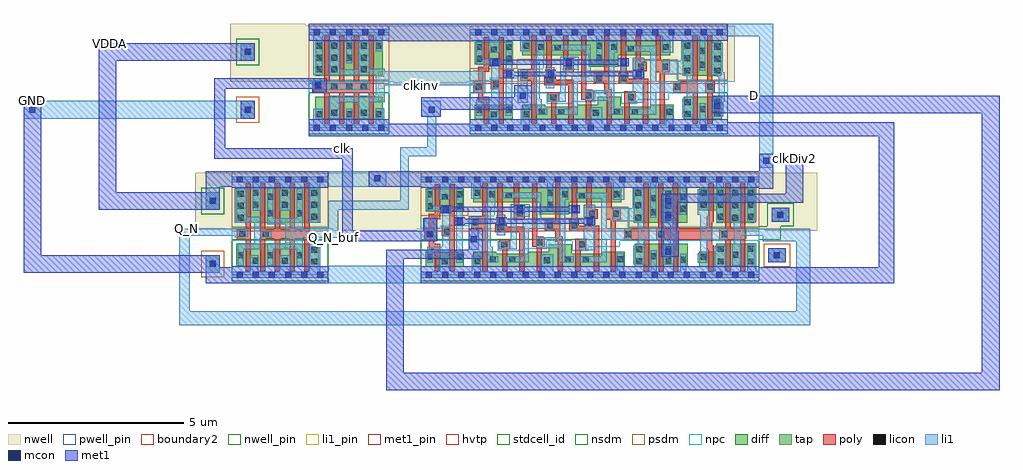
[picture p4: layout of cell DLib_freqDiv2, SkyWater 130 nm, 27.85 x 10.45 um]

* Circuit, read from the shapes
.subckt DLib_freqDiv2 D GND Q_N Q_N_buf VDDA clk clkDiv2 clkinv
XM1 GND Q_N n1 GND sky130_fd_pr__nfet_01v8 w=0.65 l=0.15
XM2 Q_N_buf n1 GND GND sky130_fd_pr__nfet_01v8 w=0.65 l=0.15 m=4
XM3 clkinv clk GND GND sky130_fd_pr__nfet_01v8 w=0.65 l=0.15 m=4
XM4 GND clk n2 GND sky130_fd_pr__nfet_01v8 w=0.42 l=0.15
XM5 n3 n2 GND GND sky130_fd_pr__nfet_01v8 w=0.42 l=0.15
XM6 n4 D GND GND sky130_fd_pr__nfet_01v8 w=0.42 l=0.15
XM7 GND clkinv n5 GND sky130_fd_pr__nfet_01v8 w=0.42 l=0.15
XM8 n6 n5 GND GND sky130_fd_pr__nfet_01v8 w=0.42 l=0.15
XM9 n7 n2 n4 GND sky130_fd_pr__nfet_01v8 w=0.36 l=0.15
XM10 n8 n3 n7 GND sky130_fd_pr__nfet_01v8 w=0.36 l=0.15
XM11 n9 Q_N_buf GND GND sky130_fd_pr__nfet_01v8 w=0.42 l=0.15
XM12 GND n10 n8 GND sky130_fd_pr__nfet_01v8 w=0.42 l=0.15
XM13 n11 n5 n9 GND sky130_fd_pr__nfet_01v8 w=0.36 l=0.15
XM14 n10 n7 GND GND sky130_fd_pr__nfet_01v8 w=0.64 l=0.15
XM15 n12 n6 n11 GND sky130_fd_pr__nfet_01v8 w=0.36 l=0.15
XM16 n13 n3 n10 GND sky130_fd_pr__nfet_01v8 w=0.36 l=0.15
XM17 GND n14 n12 GND sky130_fd_pr__nfet_01v8 w=0.42 l=0.15
XM18 n15 n2 n13 GND sky130_fd_pr__nfet_01v8 w=0.36 l=0.15
XM19 n14 n11 GND GND sky130_fd_pr__nfet_01v8 w=0.64 l=0.15
XM20 GND n16 n15 GND sky130_fd_pr__nfet_01v8 w=0.42 l=0.15
XM21 n17 n6 n14 GND sky130_fd_pr__nfet_01v8 w=0.36 l=0.15
XM22 n18 n5 n17 GND sky130_fd_pr__nfet_01v8 w=0.36 l=0.15
XM23 GND n13 n16 GND sky130_fd_pr__nfet_01v8 w=0.65 l=0.15
XM24 clkDiv2 n16 GND GND sky130_fd_pr__nfet_01v8 w=0.65 l=0.15 m=2
XM25 GND n19 n18 GND sky130_fd_pr__nfet_01v8 w=0.42 l=0.15
XM26 GND n17 n19 GND sky130_fd_pr__nfet_01v8 w=0.65 l=0.15
XM27 D n19 GND GND sky130_fd_pr__nfet_01v8 w=0.65 l=0.15
XM28 GND n16 n20 GND sky130_fd_pr__nfet_01v8 w=0.42 l=0.15
XM29 Q_N n20 GND GND sky130_fd_pr__nfet_01v8 w=0.65 l=0.15 m=2
XM30 VDDA Q_N n1 VDDA sky130_fd_pr__pfet_01v8_hvt w=1 l=0.15
XM31 Q_N_buf n1 VDDA VDDA sky130_fd_pr__pfet_01v8_hvt w=1 l=0.15 m=4
XM32 clkinv clk VDDA VDDA sky130_fd_pr__pfet_01v8_hvt w=1 l=0.15 m=4
XM33 VDDA clk n2 VDDA sky130_fd_pr__pfet_01v8_hvt w=0.64 l=0.15
XM34 n3 n2 VDDA VDDA sky130_fd_pr__pfet_01v8_hvt w=0.64 l=0.15
XM35 n4 D VDDA VDDA sky130_fd_pr__pfet_01v8_hvt w=0.42 l=0.15
XM36 VDDA clkinv n5 VDDA sky130_fd_pr__pfet_01v8_hvt w=0.64 l=0.15
XM37 n7 n3 n4 VDDA sky130_fd_pr__pfet_01v8_hvt w=0.42 l=0.15
XM38 n6 n5 VDDA VDDA sky130_fd_pr__pfet_01v8_hvt w=0.64 l=0.15
XM39 n21 n2 n7 VDDA sky130_fd_pr__pfet_01v8_hvt w=0.42 l=0.15
XM40 n9 Q_N_buf VDDA VDDA sky130_fd_pr__pfet_01v8_hvt w=0.42 l=0.15
XM41 VDDA n10 n21 VDDA sky130_fd_pr__pfet_01v8_hvt w=0.42 l=0.15
XM42 n11 n6 n9 VDDA sky130_fd_pr__pfet_01v8_hvt w=0.42 l=0.15
XM43 n10 n7 VDDA VDDA sky130_fd_pr__pfet_01v8_hvt w=0.75 l=0.15
XM44 n22 n5 n11 VDDA sky130_fd_pr__pfet_01v8_hvt w=0.42 l=0.15
XM45 n13 n2 n10 VDDA sky130_fd_pr__pfet_01v8_hvt w=0.42 l=0.15
XM46 VDDA n14 n22 VDDA sky130_fd_pr__pfet_01v8_hvt w=0.42 l=0.15
XM47 n23 n3 n13 VDDA sky130_fd_pr__pfet_01v8_hvt w=0.42 l=0.15
XM48 n14 n11 VDDA VDDA sky130_fd_pr__pfet_01v8_hvt w=0.75 l=0.15
XM49 VDDA n16 n23 VDDA sky130_fd_pr__pfet_01v8_hvt w=0.42 l=0.15
XM50 n17 n5 n14 VDDA sky130_fd_pr__pfet_01v8_hvt w=0.42 l=0.15
XM51 n24 n6 n17 VDDA sky130_fd_pr__pfet_01v8_hvt w=0.42 l=0.15
XM52 VDDA n13 n16 VDDA sky130_fd_pr__pfet_01v8_hvt w=1 l=0.15
XM53 VDDA n19 n24 VDDA sky130_fd_pr__pfet_01v8_hvt w=0.42 l=0.15
XM54 clkDiv2 n16 VDDA VDDA sky130_fd_pr__pfet_01v8_hvt w=1 l=0.15 m=2
XM55 VDDA n17 n19 VDDA sky130_fd_pr__pfet_01v8_hvt w=1 l=0.15
XM56 D n19 VDDA VDDA sky130_fd_pr__pfet_01v8_hvt w=1 l=0.15
XM57 VDDA n16 n20 VDDA sky130_fd_pr__pfet_01v8_hvt w=0.64 l=0.15
XM58 Q_N n20 VDDA VDDA sky130_fd_pr__pfet_01v8_hvt w=1 l=0.15 m=2
.ends

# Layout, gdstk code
import gdstk
lib = gdstk.Library(unit=1e-6, precision=1e-09)
def R(c, l, rs):  # rectangles x0, y0, x1, y1
    for r in rs: c.add(gdstk.rectangle(r[:2], r[2:], *l))
def A(c, l, x, y, w, h, nx, ny, dx, dy):  # array of equal rectangles
    R(c, l, [(x+i*dx, y+j*dy, x+i*dx+w, y+j*dy+h) for i in range(nx) for j in range(ny)])
def P(c, l, *ps):  # polygons
    for p in ps: c.add(gdstk.Polygon(p, *l))
nwell_pin = (64, 16)
nwell = (64, 20)
diff = (65, 20)
tap = (65, 44)
poly = (66, 20)
licon = (66, 44)
li1_pin = (67, 16)
li1 = (67, 20)
mcon = (67, 44)
met1_pin = (68, 16)
met1 = (68, 20)
hvtp = (78, 44)
stdcell_id = (81, 4)
nsdm = (93, 44)
psdm = (94, 20)
npc = (95, 20)
pwell_pin = (122, 16)
boundary2 = (236, 0)

sky130_fd_sc_hd__inv_4 = lib.new_cell('sky130_fd_sc_hd__inv_4')
R(sky130_fd_sc_hd__inv_4, nwell_pin, [(0.145,2.635,0.315,2.805)])
R(sky130_fd_sc_hd__inv_4, nwell, [(-0.19,1.305,2.49,2.91)])
R(sky130_fd_sc_hd__inv_4, diff, [(0.185,0.235,2.115,0.885), (0.185,1.485,2.115,2.485)])
P(sky130_fd_sc_hd__inv_4, poly, [(1.855,2.615),(1.705,2.615),(1.705,1.325),(1.435,1.325),(1.435,2.615),(1.285,2.615),(1.285,1.325),(1.015,1.325),(1.015,2.615),(0.865,2.615),(0.865,1.325),(0.595,1.325),(0.595,2.615),(0.445,2.615),(0.445,1.325),(0.105,1.325),(0.105,0.995),(0.445,0.995),(0.445,0.105),(0.595,0.105),(0.595,0.995),(0.865,0.995),(0.865,0.105),(1.015,0.105),(1.015,0.995),(1.285,0.995),(1.285,0.105),(1.435,0.105),(1.435,0.995),(1.705,0.995),(1.705,0.105),(1.855,0.105)])
A(sky130_fd_sc_hd__inv_4, licon, 0.645, 1.075, 0.17, 0.17, 3, 1, 0.42, 0)
A(sky130_fd_sc_hd__inv_4, licon, 0.225, 1.915, 0.17, 0.17, 4, 1, 0.42, 0)
A(sky130_fd_sc_hd__inv_4, licon, 0.225, 2.255, 0.17, 0.17, 5, 1, 0.42, 0)
R(sky130_fd_sc_hd__inv_4, licon, [(0.225,0.295,0.395,0.465), (1.065,0.295,1.235,0.465), (1.905,0.3,2.075,0.47), (0.645,0.335,0.815,0.505), (1.485,0.335,1.655,0.505), (0.185,1.075,0.355,1.245), (0.225,1.575,0.395,1.745), (0.645,1.575,0.815,1.745), (1.485,1.575,1.655,1.745)])
A(sky130_fd_sc_hd__inv_4, li1_pin, 0.145, 1.105, 0.17, 0.17, 5, 1, 0.46, 0)
R(sky130_fd_sc_hd__inv_4, li1_pin, [(1.985,0.765,2.155,0.935), (1.985,1.445,2.155,1.615)])
R(sky130_fd_sc_hd__inv_4, li1, [(0.105,1.075,1.735,1.325)])
P(sky130_fd_sc_hd__inv_4, li1, [(2.3,0.085),(2.155,0.085),(2.155,0.55),(1.905,0.55),(1.905,0.085),(1.235,0.085),(1.235,0.545),(1.065,0.545),(1.065,0.085),(0.395,0.085),(0.395,0.545),(0.13,0.545),(0.13,0.085),(0,0.085),(0,-0.085),(2.3,-0.085)],
  [(2.3,2.805),(0,2.805),(0,2.635),(0.13,2.635),(0.13,1.495),(0.395,1.495),(0.395,2.635),(1.065,2.635),(1.065,1.835),(1.235,1.835),(1.235,2.635),(1.905,2.635),(1.905,2.175),(2.115,2.175),(2.115,2.635),(2.3,2.635)],
  [(2.17,1.685),(1.735,1.685),(1.735,2.465),(1.405,2.465),(1.405,1.665),(0.895,1.665),(0.895,2.465),(0.565,2.465),(0.565,1.495),(1.905,1.495),(1.905,0.905),(0.565,0.905),(0.565,0.255),(0.895,0.255),(0.895,0.725),(1.405,0.725),(1.405,0.255),(1.735,0.255),(1.735,0.725),(2.17,0.725)])
A(sky130_fd_sc_hd__inv_4, mcon, 0.145, -0.085, 0.17, 0.17, 5, 2, 0.46, 2.72)
R(sky130_fd_sc_hd__inv_4, met1_pin, [(0.145,-0.085,0.315,0.085), (0.145,2.635,0.315,2.805)])
R(sky130_fd_sc_hd__inv_4, hvtp, [(0,1.25,2.3,2.72)])
R(sky130_fd_sc_hd__inv_4, stdcell_id, [(0,0,2.3,2.72)])
R(sky130_fd_sc_hd__inv_4, nsdm, [(0,-0.19,2.3,1.015)])
R(sky130_fd_sc_hd__inv_4, psdm, [(0,1.355,2.3,2.91)])
R(sky130_fd_sc_hd__inv_4, npc, [(0,0.975,2.3,1.345)])
R(sky130_fd_sc_hd__inv_4, pwell_pin, [(0.145,-0.085,0.315,0.085)])
R(sky130_fd_sc_hd__inv_4, boundary2, [(0,0,2.3,2.72)])
sky130_fd_sc_hd__inv_4.add(gdstk.FlexPath([(0,2.72),(2.3,2.72)], 0.48, ends="flush", simple_path=True, layer=68, datatype=20))  # met1
sky130_fd_sc_hd__inv_4.add(gdstk.FlexPath([(0,0),(2.3,0)], 0.48, ends="flush", simple_path=True, layer=68, datatype=20))  # met1
sky130_fd_sc_hd__inv_4.add(gdstk.Label('Y', (2.07,0.85), layer=67, texttype=5))
sky130_fd_sc_hd__inv_4.add(gdstk.Label('Y', (2.07,1.19), layer=67, texttype=5))
sky130_fd_sc_hd__inv_4.add(gdstk.Label('Y', (2.07,1.53), layer=67, texttype=5))
sky130_fd_sc_hd__inv_4.add(gdstk.Label('A', (0.23,1.19), layer=67, texttype=5))
sky130_fd_sc_hd__inv_4.add(gdstk.Label('A', (0.69,1.19), layer=67, texttype=5))
sky130_fd_sc_hd__inv_4.add(gdstk.Label('A', (1.15,1.19), layer=67, texttype=5))
sky130_fd_sc_hd__inv_4.add(gdstk.Label('A', (1.61,1.19), layer=67, texttype=5))
sky130_fd_sc_hd__inv_4.add(gdstk.Label('VPB', (0.23,2.72), layer=64, texttype=5))
sky130_fd_sc_hd__inv_4.add(gdstk.Label('VNB', (0.23,0), layer=64, texttype=59))
sky130_fd_sc_hd__inv_4.add(gdstk.Label('VPWR', (0.23,2.72), layer=68, texttype=5))
sky130_fd_sc_hd__inv_4.add(gdstk.Label('VGND', (0.23,0), layer=68, texttype=5))
sky130_fd_sc_hd__inv_4.add(gdstk.Label('inv_4', (0,0), layer=83, texttype=44))

sky130_fd_sc_hd__dfxtp_1 = lib.new_cell('sky130_fd_sc_hd__dfxtp_1')
R(sky130_fd_sc_hd__dfxtp_1, nwell_pin, [(0.145,2.635,0.315,2.805), (0.145,2.635,0.315,2.805)])
R(sky130_fd_sc_hd__dfxtp_1, nwell, [(-0.19,1.305,7.55,2.91)])
R(sky130_fd_sc_hd__dfxtp_1, diff, [(0.135,0.235,1.225,0.655), (6.095,0.235,7.185,0.885), (6.075,1.485,7.175,2.485), (0.135,1.815,1.225,2.455)])
P(sky130_fd_sc_hd__dfxtp_1, diff, [(5.71,2.485),(1.495,2.485),(1.495,2.065),(3.395,2.065),(3.395,1.735),(4.23,1.735),(4.23,2.065),(5.71,2.065)],
  [(5.82,0.655),(5.16,0.655),(5.16,0.595),(4.3,0.595),(4.3,0.875),(3.65,0.875),(3.65,0.655),(3.055,0.655),(3.055,0.595),(2.155,0.595),(2.155,0.655),(1.495,0.655),(1.495,0.235),(5.82,0.235)])
P(sky130_fd_sc_hd__dfxtp_1, poly, [(3.54,1.065),(3.32,1.065),(3.32,2.615),(3.17,2.615),(3.17,0.795),(3.305,0.795),(3.305,0.105),(3.455,0.105),(3.455,0.795),(3.54,0.795)],
  [(2.545,1.005),(2.215,1.005),(2.215,0.735),(2.315,0.735),(2.315,0.105),(2.465,0.105),(2.465,0.735),(2.545,0.735)],
  [(1.905,2.615),(1.755,2.615),(1.755,1.665),(1.43,1.665),(1.43,1.335),(1.755,1.335),(1.755,0.105),(1.905,0.105)],
  [(2.96,1.365),(2.445,1.365),(2.445,1.485),(2.33,1.485),(2.33,2.615),(2.18,2.615),(2.18,1.485),(2.115,1.485),(2.115,1.215),(2.81,1.215),(2.81,0.105),(2.96,0.105)],
  [(2.96,1.905),(2.805,1.905),(2.805,2.615),(2.655,2.615),(2.655,1.575),(2.96,1.575)],
  [(5.7,1.905),(5.445,1.905),(5.445,2.615),(5.295,2.615),(5.295,1.575),(5.41,1.575),(5.41,0.105),(5.56,0.105),(5.56,1.575),(5.7,1.575)],
  [(5.05,1.875),(4.875,1.875),(4.875,2.615),(4.725,2.615),(4.725,1.875),(4.72,1.875),(4.72,1.605),(5.05,1.605)],
  [(0.965,2.585),(0.815,2.585),(0.815,1.37),(0.59,1.37),(0.59,1.1),(0.815,1.1),(0.815,0.105),(0.965,0.105)],
  [(5.085,1.395),(4.51,1.395),(4.51,1.575),(4.455,1.575),(4.455,2.615),(4.305,2.615),(4.305,1.575),(4.24,1.575),(4.24,1.245),(4.935,1.245),(4.935,0.105),(5.085,0.105)],
  [(0.545,0.88),(0.38,0.88),(0.38,1.59),(0.545,1.59),(0.545,2.585),(0.395,2.585),(0.395,1.74),(0.23,1.74),(0.23,1.325),(0.11,1.325),(0.11,0.995),(0.23,0.995),(0.23,0.73),(0.395,0.73),(0.395,0.105),(0.545,0.105)],
  [(6.985,1.325),(6.915,1.325),(6.915,2.615),(6.765,2.615),(6.765,1.325),(6.715,1.325),(6.715,0.995),(6.775,0.995),(6.775,0.105),(6.925,0.105),(6.925,0.995),(6.985,0.995)],
  [(6.505,1.325),(6.495,1.325),(6.495,2.615),(6.345,2.615),(6.345,1.325),(5.795,1.325),(5.795,0.995),(6.355,0.995),(6.355,0.105),(6.505,0.105)],
  [(4.725,1.035),(4.405,1.035),(4.405,0.105),(4.555,0.105),(4.555,0.705),(4.725,0.705)],
  [(4.05,1.1),(3.98,1.1),(3.98,2.615),(3.83,2.615),(3.83,1.545),(3.53,1.545),(3.53,1.275),(3.83,1.275),(3.83,0.95),(3.9,0.95),(3.9,0.105),(4.05,0.105)])
A(sky130_fd_sc_hd__dfxtp_1, licon, 6.115, 1.545, 0.17, 0.17, 1, 3, 0, 0.355)
A(sky130_fd_sc_hd__dfxtp_1, licon, 6.965, 1.545, 0.17, 0.17, 1, 3, 0, 0.34)
R(sky130_fd_sc_hd__dfxtp_1, licon, [(0.595,0.295,0.765,0.465), (1.535,0.295,1.705,0.465), (6.135,0.3,6.305,0.47), (6.975,0.31,7.145,0.48), (3.51,0.335,3.68,0.505), (1.96,0.365,2.13,0.535), (2.515,0.365,2.685,0.535), (4.105,0.365,4.275,0.535), (4.62,0.365,4.79,0.535), (5.61,0.365,5.78,0.535), (0.175,0.425,0.345,0.595), (1.015,0.425,1.185,0.595), (6.555,0.445,6.725,0.615), (6.135,0.64,6.305,0.81), (6.975,0.65,7.145,0.82), (2.295,0.785,2.465,0.955), (4.505,0.785,4.675,0.955), (3.29,0.845,3.46,1.015), (0.16,1.075,0.33,1.245), (5.845,1.075,6.015,1.245), (6.765,1.075,6.935,1.245), (0.67,1.15,0.84,1.32), (2.195,1.265,2.365,1.435), (3.61,1.325,3.78,1.495), (4.29,1.325,4.46,1.495), (1.48,1.415,1.65,1.585), (2.74,1.655,2.91,1.825), (4.8,1.655,4.97,1.825), (5.48,1.655,5.65,1.825), (6.545,1.705,6.715,1.875), (0.175,1.875,0.345,2.045), (1.015,1.875,1.185,2.045), (3.61,1.915,3.78,2.085), (6.545,2.105,6.715,2.275), (0.595,2.135,0.765,2.305), (4.505,2.165,4.675,2.335), (2.415,2.19,2.585,2.36), (0.175,2.215,0.345,2.385), (1.015,2.215,1.185,2.385), (1.955,2.215,2.125,2.385), (4.03,2.215,4.2,2.385), (5.5,2.215,5.67,2.385), (1.535,2.255,1.705,2.425), (3.61,2.255,3.78,2.425)])
R(sky130_fd_sc_hd__dfxtp_1, li1_pin, [(6.95,0.425,7.12,0.595), (0.145,1.105,0.315,1.275), (1.445,1.105,1.615,1.275)])
R(sky130_fd_sc_hd__dfxtp_1, li1, [(1.015,0.345,1.2,2.465), (1.37,0.715,1.65,1.665), (0.09,0.975,0.44,1.625), (2.16,1.125,2.4,1.72), (4.29,1.245,4.48,1.965)])
P(sky130_fd_sc_hd__dfxtp_1, li1, [(6.015,1.325),(5.31,1.325),(5.31,2.335),(4.425,2.335),(4.425,2.165),(5.14,2.165),(5.14,0.535),(4.525,0.535),(4.525,0.365),(5.31,0.365),(5.31,0.995),(6.015,0.995)],
  [(6.935,1.325),(6.375,1.325),(6.375,2.465),(6.035,2.465),(6.035,1.905),(5.48,1.905),(5.48,1.53),(6.185,1.53),(6.185,0.825),(6.055,0.825),(6.055,0.3),(6.385,0.3),(6.385,0.995),(6.935,0.995)],
  [(7.275,1.575),(7.215,1.575),(7.215,2.42),(6.885,2.42),(6.885,1.495),(7.06,1.495),(7.06,1.445),(7.105,1.445),(7.105,0.865),(7.05,0.865),(7.05,0.825),(6.895,0.825),(6.895,0.305),(7.225,0.305),(7.225,0.74),(7.275,0.74)],
  [(4.97,1.995),(4.65,1.995),(4.65,1.035),(4.505,1.035),(4.505,0.705),(4.97,0.705)],
  [(0.84,1.965),(0.345,1.965),(0.345,2.465),(0.175,2.465),(0.175,1.795),(0.61,1.795),(0.61,0.805),(0.175,0.805),(0.175,0.345),(0.345,0.345),(0.345,0.635),(0.84,0.635)],
  [(7.36,2.805),(0,2.805),(0,2.635),(0.515,2.635),(0.515,2.135),(0.845,2.135),(0.845,2.635),(1.44,2.635),(1.44,2.175),(1.705,2.175),(1.705,2.635),(3.61,2.635),(3.61,1.835),(3.78,1.835),(3.78,2.635),(5.49,2.635),(5.49,2.135),(5.805,2.135),(5.805,2.635),(6.545,2.635),(6.545,1.625),(6.715,1.625),(6.715,2.635),(7.36,2.635)],
  [(7.36,0.085),(6.725,0.085),(6.725,0.695),(6.555,0.695),(6.555,0.085),(5.795,0.085),(5.795,0.615),(5.585,0.615),(5.585,0.085),(3.77,0.085),(3.77,0.585),(3.4,0.585),(3.4,0.085),(1.705,0.085),(1.705,0.545),(1.455,0.545),(1.455,0.085),(0.845,0.085),(0.845,0.465),(0.515,0.465),(0.515,0.085),(0,0.085),(0,-0.085),(7.36,-0.085)],
  [(2.21,0.535),(2.045,0.535),(2.045,0.805),(1.99,0.805),(1.99,1.91),(2.125,1.91),(2.125,2.465),(1.875,2.465),(1.875,2.04),(1.82,2.04),(1.82,0.675),(1.875,0.675),(1.875,0.365),(2.21,0.365)],
  [(3.1,2.02),(2.57,2.02),(2.57,0.955),(2.215,0.955),(2.215,0.735),(2.74,0.735),(2.74,1.655),(3.1,1.655)],
  [(3.78,1.575),(3.44,1.575),(3.44,2.36),(2.335,2.36),(2.335,2.19),(3.27,2.19),(3.27,1.485),(2.91,1.485),(2.91,0.535),(2.405,0.535),(2.405,0.365),(3.08,0.365),(3.08,1.315),(3.61,1.315),(3.61,1.245),(3.78,1.245)],
  [(4.355,0.535),(4.12,0.535),(4.12,2.135),(4.2,2.135),(4.2,2.465),(3.95,2.465),(3.95,1.065),(3.49,1.065),(3.49,1.095),(3.29,1.095),(3.29,0.765),(3.95,0.765),(3.95,0.365),(4.355,0.365)])
A(sky130_fd_sc_hd__dfxtp_1, mcon, 0.145, -0.085, 0.17, 0.17, 16, 2, 0.46, 2.72)
R(sky130_fd_sc_hd__dfxtp_1, mcon, [(1.025,1.445,1.195,1.615), (2.215,1.445,2.385,1.615), (4.735,1.445,4.905,1.615), (0.63,1.785,0.8,1.955), (2.73,1.785,2.9,1.955), (4.3,1.785,4.47,1.955)])
R(sky130_fd_sc_hd__dfxtp_1, met1_pin, [(0.145,-0.085,0.315,0.085), (0.145,2.635,0.315,2.805)])
R(sky130_fd_sc_hd__dfxtp_1, met1, [(0,-0.24,7.36,0.24), (0,2.48,7.36,2.96)])
P(sky130_fd_sc_hd__dfxtp_1, met1, [(4.53,1.985),(4.24,1.985),(4.24,1.94),(2.96,1.94),(2.96,1.985),(2.67,1.985),(2.67,1.94),(0.86,1.94),(0.86,1.985),(0.57,1.985),(0.57,1.755),(0.86,1.755),(0.86,1.8),(2.67,1.8),(2.67,1.755),(2.96,1.755),(2.96,1.8),(4.24,1.8),(4.24,1.755),(4.53,1.755)],
  [(4.965,1.645),(4.675,1.645),(4.675,1.6),(2.445,1.6),(2.445,1.645),(2.155,1.645),(2.155,1.6),(1.255,1.6),(1.255,1.645),(0.965,1.645),(0.965,1.415),(1.255,1.415),(1.255,1.46),(2.155,1.46),(2.155,1.415),(2.445,1.415),(2.445,1.46),(4.675,1.46),(4.675,1.415),(4.965,1.415)])
R(sky130_fd_sc_hd__dfxtp_1, hvtp, [(0,1.25,7.36,2.72)])
R(sky130_fd_sc_hd__dfxtp_1, stdcell_id, [(0,0,7.36,2.72)])
R(sky130_fd_sc_hd__dfxtp_1, nsdm, [(0,-0.19,7.36,1.015)])
P(sky130_fd_sc_hd__dfxtp_1, psdm, [(7.36,2.91),(0,2.91),(0,1.685),(1.35,1.685),(1.35,1.935),(3.24,1.935),(3.24,1.605),(4.665,1.605),(4.665,1.935),(5.93,1.935),(5.93,1.355),(7.36,1.355)])
P(sky130_fd_sc_hd__dfxtp_1, npc, [(7.36,1.345),(5.91,1.345),(5.91,1.925),(4.675,1.925),(4.675,1.595),(3.085,1.595),(3.085,1.925),(2.095,1.925),(2.095,1.685),(1.38,1.685),(1.38,1.42),(0.565,1.42),(0.565,1.345),(0,1.345),(0,0.975),(2.195,0.975),(2.195,0.685),(2.905,0.685),(2.905,0.745),(3.59,0.745),(3.59,0.975),(4.32,0.975),(4.32,0.685),(4.775,0.685),(4.775,0.795),(5.675,0.795),(5.675,0.975),(7.36,0.975)])
R(sky130_fd_sc_hd__dfxtp_1, pwell_pin, [(0.145,-0.085,0.315,0.085), (0.145,-0.085,0.315,0.085)])
R(sky130_fd_sc_hd__dfxtp_1, boundary2, [(0,0,7.36,2.72)])
sky130_fd_sc_hd__dfxtp_1.add(gdstk.Label('dfxtp_1', (0,0), layer=83, texttype=44))
sky130_fd_sc_hd__dfxtp_1.add(gdstk.Label('VPB', (0.23,2.72), layer=64, texttype=5))
sky130_fd_sc_hd__dfxtp_1.add(gdstk.Label('VPB', (0.23,2.72), layer=64, texttype=5))
sky130_fd_sc_hd__dfxtp_1.add(gdstk.Label('VNB', (0.23,0), layer=64, texttype=59))
sky130_fd_sc_hd__dfxtp_1.add(gdstk.Label('VNB', (0.23,0), layer=64, texttype=59))
sky130_fd_sc_hd__dfxtp_1.add(gdstk.Label('Q', (7.035,0.51), layer=67, texttype=5))
sky130_fd_sc_hd__dfxtp_1.add(gdstk.Label('CLK', (0.23,1.19), layer=67, texttype=5))
sky130_fd_sc_hd__dfxtp_1.add(gdstk.Label('D', (1.535,1.19), layer=67, texttype=5))
sky130_fd_sc_hd__dfxtp_1.add(gdstk.Label('VPWR', (0.23,2.72), layer=68, texttype=5))
sky130_fd_sc_hd__dfxtp_1.add(gdstk.Label('VGND', (0.23,0), layer=68, texttype=5))

sky130_fd_sc_hd__dfxbp_2 = lib.new_cell('sky130_fd_sc_hd__dfxbp_2')
R(sky130_fd_sc_hd__dfxbp_2, nwell_pin, [(0.145,2.635,0.315,2.805), (0.145,2.635,0.315,2.805)])
R(sky130_fd_sc_hd__dfxbp_2, nwell, [(-0.19,1.305,9.85,2.91)])
R(sky130_fd_sc_hd__dfxbp_2, diff, [(0.135,0.235,1.225,0.655), (6.1,0.235,7.61,0.885), (6.08,1.485,7.6,2.485), (0.135,1.815,1.225,2.455)])
P(sky130_fd_sc_hd__dfxbp_2, diff, [(5.71,2.485),(1.495,2.485),(1.495,2.065),(3.395,2.065),(3.395,1.735),(4.23,1.735),(4.23,2.065),(5.71,2.065)],
  [(5.82,0.655),(5.16,0.655),(5.16,0.595),(4.3,0.595),(4.3,0.875),(3.65,0.875),(3.65,0.655),(3.055,0.655),(3.055,0.595),(2.155,0.595),(2.155,0.655),(1.495,0.655),(1.495,0.235),(5.82,0.235)],
  [(9.525,2.485),(7.945,2.485),(7.945,1.845),(8.43,1.845),(8.43,1.485),(9.525,1.485)],
  [(9.525,0.885),(8.43,0.885),(8.43,0.655),(7.945,0.655),(7.945,0.235),(9.525,0.235)])
P(sky130_fd_sc_hd__dfxbp_2, poly, [(0.545,0.88),(0.38,0.88),(0.38,1.59),(0.545,1.59),(0.545,2.585),(0.395,2.585),(0.395,1.74),(0.23,1.74),(0.23,1.325),(0.11,1.325),(0.11,0.995),(0.23,0.995),(0.23,0.73),(0.395,0.73),(0.395,0.105),(0.545,0.105)],
  [(0.965,2.585),(0.815,2.585),(0.815,1.37),(0.59,1.37),(0.59,1.1),(0.815,1.1),(0.815,0.105),(0.965,0.105)],
  [(1.905,2.615),(1.755,2.615),(1.755,1.665),(1.43,1.665),(1.43,1.335),(1.755,1.335),(1.755,0.105),(1.905,0.105)],
  [(2.545,1.005),(2.215,1.005),(2.215,0.735),(2.315,0.735),(2.315,0.105),(2.465,0.105),(2.465,0.735),(2.545,0.735)],
  [(2.96,1.905),(2.805,1.905),(2.805,2.615),(2.655,2.615),(2.655,1.575),(2.96,1.575)],
  [(2.96,1.365),(2.445,1.365),(2.445,1.485),(2.33,1.485),(2.33,2.615),(2.18,2.615),(2.18,1.485),(2.115,1.485),(2.115,1.215),(2.81,1.215),(2.81,0.105),(2.96,0.105)],
  [(3.54,1.065),(3.32,1.065),(3.32,2.615),(3.17,2.615),(3.17,0.795),(3.305,0.795),(3.305,0.105),(3.455,0.105),(3.455,0.795),(3.54,0.795)],
  [(4.05,1.1),(3.98,1.1),(3.98,2.615),(3.83,2.615),(3.83,1.545),(3.53,1.545),(3.53,1.275),(3.83,1.275),(3.83,0.95),(3.9,0.95),(3.9,0.105),(4.05,0.105)],
  [(4.725,1.035),(4.405,1.035),(4.405,0.105),(4.555,0.105),(4.555,0.705),(4.725,0.705)],
  [(5.05,1.875),(4.875,1.875),(4.875,2.615),(4.725,2.615),(4.725,1.875),(4.72,1.875),(4.72,1.605),(5.05,1.605)],
  [(5.085,1.395),(4.51,1.395),(4.51,1.575),(4.455,1.575),(4.455,2.615),(4.305,2.615),(4.305,1.575),(4.24,1.575),(4.24,1.245),(4.935,1.245),(4.935,0.105),(5.085,0.105)],
  [(5.7,1.905),(5.445,1.905),(5.445,2.615),(5.295,2.615),(5.295,1.575),(5.41,1.575),(5.41,0.105),(5.56,0.105),(5.56,1.575),(5.7,1.575)],
  [(6.51,1.325),(6.5,1.325),(6.5,2.615),(6.35,2.615),(6.35,1.325),(5.8,1.325),(5.8,0.995),(6.36,0.995),(6.36,0.105),(6.51,0.105)],
  [(8.355,0.85),(8.31,0.85),(8.31,1.515),(8.355,1.515),(8.355,2.615),(8.205,2.615),(8.205,1.665),(8.16,1.665),(8.16,1.325),(7.34,1.325),(7.34,2.615),(7.19,2.615),(7.19,1.325),(6.92,1.325),(6.92,2.615),(6.77,2.615),(6.77,1.325),(6.72,1.325),(6.72,0.995),(6.78,0.995),(6.78,0.105),(6.93,0.105),(6.93,0.995),(7.2,0.995),(7.2,0.105),(7.35,0.105),(7.35,0.995),(8.16,0.995),(8.16,0.73),(8.205,0.73),(8.205,0.105),(8.355,0.105)],
  [(9.26,2.615),(9.11,2.615),(9.11,1.325),(8.84,1.325),(8.84,2.615),(8.69,2.615),(8.69,1.325),(8.52,1.325),(8.52,0.995),(8.69,0.995),(8.69,0.105),(8.84,0.105),(8.84,0.995),(9.11,0.995),(9.11,0.105),(9.26,0.105)])
A(sky130_fd_sc_hd__dfxbp_2, licon, 6.12, 1.545, 0.17, 0.17, 1, 3, 0, 0.355)
A(sky130_fd_sc_hd__dfxbp_2, licon, 6.97, 1.545, 0.17, 0.17, 1, 3, 0, 0.34)
A(sky130_fd_sc_hd__dfxbp_2, licon, 8.89, 1.545, 0.17, 0.17, 1, 3, 0, 0.355)
A(sky130_fd_sc_hd__dfxbp_2, licon, 8.47, 1.575, 0.17, 0.17, 1, 3, 0, 0.34)
A(sky130_fd_sc_hd__dfxbp_2, licon, 9.315, 1.575, 0.17, 0.17, 1, 3, 0, 0.34)
R(sky130_fd_sc_hd__dfxbp_2, licon, [(0.595,0.295,0.765,0.465), (1.535,0.295,1.705,0.465), (8.47,0.295,8.64,0.465), (9.315,0.295,9.485,0.465), (6.14,0.3,6.31,0.47), (6.98,0.31,7.15,0.48), (3.51,0.335,3.68,0.505), (7.4,0.35,7.57,0.52), (1.96,0.365,2.13,0.535), (2.515,0.365,2.685,0.535), (4.105,0.365,4.275,0.535), (4.62,0.365,4.79,0.535), (5.61,0.365,5.78,0.535), (0.175,0.425,0.345,0.595), (1.015,0.425,1.185,0.595), (7.985,0.425,8.155,0.595), (6.56,0.445,6.73,0.615), (8.89,0.485,9.06,0.655), (6.14,0.64,6.31,0.81), (6.98,0.65,7.15,0.82), (8.47,0.655,8.64,0.825), (9.315,0.655,9.485,0.825), (2.295,0.785,2.465,0.955), (4.505,0.785,4.675,0.955), (3.29,0.845,3.46,1.015), (0.16,1.075,0.33,1.245), (5.85,1.075,6.02,1.245), (6.77,1.075,6.94,1.245), (8.59,1.075,8.76,1.245), (0.67,1.15,0.84,1.32), (2.195,1.265,2.365,1.435), (3.61,1.325,3.78,1.495), (4.29,1.325,4.46,1.495), (1.48,1.415,1.65,1.585), (2.74,1.655,2.91,1.825), (4.8,1.655,4.97,1.825), (5.48,1.655,5.65,1.825), (6.55,1.705,6.72,1.875), (7.39,1.8,7.56,1.97), (0.175,1.875,0.345,2.045), (1.015,1.875,1.185,2.045), (3.61,1.915,3.78,2.085), (7.985,1.915,8.155,2.085), (6.55,2.105,6.72,2.275), (0.595,2.135,0.765,2.305), (7.39,2.14,7.56,2.31), (4.505,2.165,4.675,2.335), (2.415,2.19,2.585,2.36), (0.175,2.215,0.345,2.385), (1.015,2.215,1.185,2.385), (1.955,2.215,2.125,2.385), (4.03,2.215,4.2,2.385), (5.5,2.215,5.67,2.385), (1.535,2.255,1.705,2.425), (3.61,2.255,3.78,2.425), (7.985,2.255,8.155,2.425)])
R(sky130_fd_sc_hd__dfxbp_2, li1_pin, [(6.95,0.425,7.12,0.595), (0.145,1.105,0.315,1.275), (1.445,1.105,1.615,1.275), (8.845,1.52,9.015,1.69)])
R(sky130_fd_sc_hd__dfxbp_2, li1, [(1.015,0.345,1.2,2.465), (1.37,0.715,1.65,1.665), (0.09,0.975,0.44,1.625), (2.16,1.125,2.4,1.72), (4.29,1.245,4.48,1.965)])
P(sky130_fd_sc_hd__dfxbp_2, li1, [(0.84,1.965),(0.345,1.965),(0.345,2.465),(0.175,2.465),(0.175,1.795),(0.61,1.795),(0.61,0.805),(0.175,0.805),(0.175,0.345),(0.345,0.345),(0.345,0.635),(0.84,0.635)],
  [(2.21,0.535),(2.045,0.535),(2.045,0.805),(1.99,0.805),(1.99,1.91),(2.125,1.91),(2.125,2.465),(1.875,2.465),(1.875,2.04),(1.82,2.04),(1.82,0.675),(1.875,0.675),(1.875,0.365),(2.21,0.365)],
  [(3.1,2.02),(2.57,2.02),(2.57,0.955),(2.215,0.955),(2.215,0.735),(2.74,0.735),(2.74,1.655),(3.1,1.655)],
  [(3.78,1.575),(3.44,1.575),(3.44,2.36),(2.335,2.36),(2.335,2.19),(3.27,2.19),(3.27,1.485),(2.91,1.485),(2.91,0.535),(2.405,0.535),(2.405,0.365),(3.08,0.365),(3.08,1.315),(3.61,1.315),(3.61,1.245),(3.78,1.245)],
  [(4.355,0.535),(4.12,0.535),(4.12,2.135),(4.2,2.135),(4.2,2.465),(3.95,2.465),(3.95,1.065),(3.49,1.065),(3.49,1.095),(3.29,1.095),(3.29,0.765),(3.95,0.765),(3.95,0.365),(4.355,0.365)],
  [(4.97,1.995),(4.65,1.995),(4.65,1.035),(4.505,1.035),(4.505,0.705),(4.97,0.705)],
  [(6.02,1.325),(5.31,1.325),(5.31,2.335),(4.425,2.335),(4.425,2.165),(5.14,2.165),(5.14,0.535),(4.525,0.535),(4.525,0.365),(5.31,0.365),(5.31,0.995),(6.02,0.995)],
  [(9.66,0.085),(9.565,0.085),(9.565,0.905),(9.315,0.905),(9.315,0.085),(8.72,0.085),(8.72,0.825),(8.39,0.825),(8.39,0.085),(7.57,0.085),(7.57,0.6),(7.4,0.6),(7.4,0.085),(6.73,0.085),(6.73,0.695),(6.56,0.695),(6.56,0.085),(5.795,0.085),(5.795,0.615),(5.585,0.615),(5.585,0.085),(3.77,0.085),(3.77,0.585),(3.4,0.585),(3.4,0.085),(1.705,0.085),(1.705,0.545),(1.455,0.545),(1.455,0.085),(0.845,0.085),(0.845,0.465),(0.515,0.465),(0.515,0.085),(0,0.085),(0,-0.085),(9.66,-0.085)],
  [(6.94,1.325),(6.38,1.325),(6.38,2.465),(6.04,2.465),(6.04,1.905),(5.48,1.905),(5.48,1.53),(6.19,1.53),(6.19,0.825),(6.06,0.825),(6.06,0.3),(6.39,0.3),(6.39,0.995),(6.94,0.995)],
  [(7.3,1.575),(7.22,1.575),(7.22,2.42),(6.89,2.42),(6.89,1.495),(7.065,1.495),(7.065,1.445),(7.11,1.445),(7.11,0.865),(7.055,0.865),(7.055,0.825),(6.9,0.825),(6.9,0.305),(7.23,0.305),(7.23,0.74),(7.3,0.74)],
  [(8.76,1.325),(8.235,1.325),(8.235,2.445),(7.905,2.445),(7.905,1.715),(7.965,1.715),(7.965,0.615),(7.905,0.615),(7.905,0.345),(8.165,0.345),(8.165,0.995),(8.76,0.995)],
  [(9.145,2.465),(8.81,2.465),(8.81,1.495),(8.93,1.495),(8.93,0.885),(8.89,0.885),(8.89,0.265),(9.145,0.265)],
  [(9.66,2.805),(0,2.805),(0,2.635),(0.515,2.635),(0.515,2.135),(0.845,2.135),(0.845,2.635),(1.44,2.635),(1.44,2.175),(1.705,2.175),(1.705,2.635),(3.61,2.635),(3.61,1.835),(3.78,1.835),(3.78,2.635),(5.49,2.635),(5.49,2.135),(5.805,2.135),(5.805,2.635),(6.55,2.635),(6.55,1.625),(6.72,1.625),(6.72,2.635),(7.39,2.635),(7.39,1.72),(7.565,1.72),(7.565,2.635),(8.425,2.635),(8.425,1.495),(8.64,1.495),(8.64,2.635),(9.315,2.635),(9.315,1.495),(9.565,1.495),(9.565,2.635),(9.66,2.635)])
A(sky130_fd_sc_hd__dfxbp_2, mcon, 0.145, -0.085, 0.17, 0.17, 21, 2, 0.46, 2.72)
R(sky130_fd_sc_hd__dfxbp_2, mcon, [(1.025,1.445,1.195,1.615), (2.215,1.445,2.385,1.615), (4.735,1.445,4.905,1.615), (0.63,1.785,0.8,1.955), (2.73,1.785,2.9,1.955), (4.3,1.785,4.47,1.955)])
R(sky130_fd_sc_hd__dfxbp_2, met1_pin, [(0.145,-0.085,0.315,0.085), (0.145,2.635,0.315,2.805)])
R(sky130_fd_sc_hd__dfxbp_2, met1, [(0,-0.24,9.66,0.24), (0,2.48,9.66,2.96)])
P(sky130_fd_sc_hd__dfxbp_2, met1, [(4.53,1.985),(4.24,1.985),(4.24,1.94),(2.96,1.94),(2.96,1.985),(2.67,1.985),(2.67,1.94),(0.86,1.94),(0.86,1.985),(0.57,1.985),(0.57,1.755),(0.86,1.755),(0.86,1.8),(2.67,1.8),(2.67,1.755),(2.96,1.755),(2.96,1.8),(4.24,1.8),(4.24,1.755),(4.53,1.755)],
  [(4.965,1.645),(4.675,1.645),(4.675,1.6),(2.445,1.6),(2.445,1.645),(2.155,1.645),(2.155,1.6),(1.255,1.6),(1.255,1.645),(0.965,1.645),(0.965,1.415),(1.255,1.415),(1.255,1.46),(2.155,1.46),(2.155,1.415),(2.445,1.415),(2.445,1.46),(4.675,1.46),(4.675,1.415),(4.965,1.415)])
R(sky130_fd_sc_hd__dfxbp_2, hvtp, [(0,1.25,9.66,2.72)])
R(sky130_fd_sc_hd__dfxbp_2, stdcell_id, [(0,0,9.66,2.72)])
R(sky130_fd_sc_hd__dfxbp_2, nsdm, [(0,-0.19,9.66,1.015)])
P(sky130_fd_sc_hd__dfxbp_2, psdm, [(9.66,2.91),(0,2.91),(0,1.685),(1.35,1.685),(1.35,1.935),(3.24,1.935),(3.24,1.605),(4.665,1.605),(4.665,1.935),(5.93,1.935),(5.93,1.355),(9.66,1.355)])
P(sky130_fd_sc_hd__dfxbp_2, npc, [(9.66,1.345),(5.91,1.345),(5.91,1.925),(4.675,1.925),(4.675,1.595),(3.085,1.595),(3.085,1.925),(2.095,1.925),(2.095,1.685),(1.38,1.685),(1.38,1.42),(0.565,1.42),(0.565,1.345),(0,1.345),(0,0.975),(2.195,0.975),(2.195,0.685),(2.905,0.685),(2.905,0.745),(3.59,0.745),(3.59,0.975),(4.32,0.975),(4.32,0.685),(4.775,0.685),(4.775,0.795),(5.675,0.795),(5.675,0.975),(9.66,0.975)])
R(sky130_fd_sc_hd__dfxbp_2, pwell_pin, [(0.145,-0.085,0.315,0.085), (0.145,-0.085,0.315,0.085)])
R(sky130_fd_sc_hd__dfxbp_2, boundary2, [(0,0,9.66,2.72)])
sky130_fd_sc_hd__dfxbp_2.add(gdstk.Label('VGND', (0.23,0), layer=68, texttype=5))
sky130_fd_sc_hd__dfxbp_2.add(gdstk.Label('VPWR', (0.23,2.72), layer=68, texttype=5))
sky130_fd_sc_hd__dfxbp_2.add(gdstk.Label('Q_N', (8.94,1.61), layer=67, texttype=5))
sky130_fd_sc_hd__dfxbp_2.add(gdstk.Label('D', (1.535,1.19), layer=67, texttype=5))
sky130_fd_sc_hd__dfxbp_2.add(gdstk.Label('CLK', (0.23,1.19), layer=67, texttype=5))
sky130_fd_sc_hd__dfxbp_2.add(gdstk.Label('Q', (7.035,0.51), layer=67, texttype=5))
sky130_fd_sc_hd__dfxbp_2.add(gdstk.Label('VNB', (0.23,0), layer=64, texttype=59))
sky130_fd_sc_hd__dfxbp_2.add(gdstk.Label('VNB', (0.23,0), layer=64, texttype=59))
sky130_fd_sc_hd__dfxbp_2.add(gdstk.Label('VPB', (0.23,2.72), layer=64, texttype=5))
sky130_fd_sc_hd__dfxbp_2.add(gdstk.Label('VPB', (0.23,2.72), layer=64, texttype=5))
sky130_fd_sc_hd__dfxbp_2.add(gdstk.Label('dfxbp_2', (0,0), layer=83, texttype=44))

sky130_fd_sc_hd__buf_4 = lib.new_cell('sky130_fd_sc_hd__buf_4')
R(sky130_fd_sc_hd__buf_4, nwell_pin, [(0.15,2.635,0.32,2.805)])
R(sky130_fd_sc_hd__buf_4, nwell, [(-0.19,1.305,2.95,2.91)])
R(sky130_fd_sc_hd__buf_4, diff, [(0.135,0.235,2.485,0.885), (0.135,1.485,2.485,2.485)])
P(sky130_fd_sc_hd__buf_4, poly, [(2.225,2.615),(2.075,2.615),(2.075,1.295),(1.805,1.295),(1.805,2.615),(1.655,2.615),(1.655,1.295),(1.385,1.295),(1.385,2.615),(1.235,2.615),(1.235,1.295),(0.965,1.295),(0.965,2.615),(0.815,2.615),(0.815,1.295),(0.81,1.295),(0.81,1.025),(0.815,1.025),(0.815,0.105),(0.965,0.105),(0.965,1.025),(1.235,1.025),(1.235,0.105),(1.385,0.105),(1.385,1.025),(1.655,1.025),(1.655,0.105),(1.805,0.105),(1.805,1.025),(2.075,1.025),(2.075,0.105),(2.225,0.105)],
  [(0.545,2.615),(0.395,2.615),(0.395,1.305),(0.14,1.305),(0.14,1.015),(0.395,1.015),(0.395,0.105),(0.545,0.105)])
A(sky130_fd_sc_hd__buf_4, licon, 0.175, 0.475, 0.17, 0.17, 3, 1, 0.84, 0)
A(sky130_fd_sc_hd__buf_4, licon, 0.175, 1.545, 0.17, 0.17, 1, 3, 0, 0.34)
A(sky130_fd_sc_hd__buf_4, licon, 0.595, 1.915, 0.17, 0.17, 3, 2, 0.84, 0.34)
R(sky130_fd_sc_hd__buf_4, licon, [(2.275,0.295,2.445,0.465), (0.595,0.315,0.765,0.485), (1.435,0.315,1.605,0.485), (2.275,0.635,2.445,0.805), (0.22,1.075,0.39,1.245), (0.89,1.075,1.06,1.245), (2.275,1.575,2.445,1.745), (1.015,1.67,1.185,1.84), (1.855,1.67,2.025,1.84), (1.015,2.145,1.185,2.315), (1.855,2.145,2.025,2.315)])
A(sky130_fd_sc_hd__buf_4, li1_pin, 1.53, 0.765, 0.17, 0.17, 1, 3, 0, 0.34)
R(sky130_fd_sc_hd__buf_4, li1_pin, [(0.15,-0.085,0.32,0.085), (0.15,1.105,0.32,1.275), (0.15,2.635,0.32,2.805)])
R(sky130_fd_sc_hd__buf_4, li1, [(0.09,1.075,0.47,1.315)])
P(sky130_fd_sc_hd__buf_4, li1, [(1.14,1.245),(0.81,1.245),(0.81,1.655),(0.425,1.655),(0.425,2.465),(0.095,2.465),(0.095,1.485),(0.64,1.485),(0.64,0.905),(0.175,0.905),(0.175,0.255),(0.345,0.255),(0.345,0.735),(0.81,0.735),(0.81,1.075),(1.14,1.075)],
  [(2.025,2.465),(1.855,2.465),(1.855,1.615),(1.185,1.615),(1.185,2.465),(1.015,2.465),(1.015,1.445),(1.53,1.445),(1.53,0.905),(1.015,0.905),(1.015,0.255),(1.185,0.255),(1.185,0.735),(1.855,0.735),(1.855,0.255),(2.025,0.255)],
  [(2.76,2.805),(0,2.805),(0,2.635),(0.595,2.635),(0.595,1.835),(0.835,1.835),(0.835,2.635),(1.355,2.635),(1.355,1.835),(1.685,1.835),(1.685,2.635),(2.195,2.635),(2.195,1.485),(2.525,1.485),(2.525,2.635),(2.76,2.635)],
  [(2.76,0.085),(2.525,0.085),(2.525,0.885),(2.195,0.885),(2.195,0.085),(1.685,0.085),(1.685,0.565),(1.355,0.565),(1.355,0.085),(0.765,0.085),(0.765,0.565),(0.525,0.565),(0.525,0.085),(0,0.085),(0,-0.085),(2.76,-0.085)])
A(sky130_fd_sc_hd__buf_4, mcon, 0.145, -0.085, 0.17, 0.17, 6, 2, 0.46, 2.72)
R(sky130_fd_sc_hd__buf_4, met1_pin, [(0.15,-0.085,0.32,0.085), (0.15,2.635,0.32,2.805)])
R(sky130_fd_sc_hd__buf_4, hvtp, [(0,1.25,2.76,2.72)])
R(sky130_fd_sc_hd__buf_4, stdcell_id, [(0,0,2.76,2.72)])
R(sky130_fd_sc_hd__buf_4, nsdm, [(0,-0.19,2.76,1.015)])
R(sky130_fd_sc_hd__buf_4, psdm, [(0,1.355,2.76,2.91)])
R(sky130_fd_sc_hd__buf_4, npc, [(0,0.975,2.76,1.345)])
R(sky130_fd_sc_hd__buf_4, pwell_pin, [(0.15,-0.085,0.32,0.085)])
R(sky130_fd_sc_hd__buf_4, boundary2, [(0,0,2.76,2.72)])
sky130_fd_sc_hd__buf_4.add(gdstk.FlexPath([(0,0),(2.76,0)], 0.48, ends="flush", simple_path=True, layer=68, datatype=20))  # met1
sky130_fd_sc_hd__buf_4.add(gdstk.FlexPath([(0,2.72),(2.76,2.72)], 0.48, ends="flush", simple_path=True, layer=68, datatype=20))  # met1
sky130_fd_sc_hd__buf_4.add(gdstk.Label('VPWR', (0.235,2.72), layer=68, texttype=5))
sky130_fd_sc_hd__buf_4.add(gdstk.Label('VGND', (0.235,0), layer=68, texttype=5))
sky130_fd_sc_hd__buf_4.add(gdstk.Label('X', (1.615,1.19), layer=67, texttype=5))
sky130_fd_sc_hd__buf_4.add(gdstk.Label('X', (1.615,1.53), layer=67, texttype=5))
sky130_fd_sc_hd__buf_4.add(gdstk.Label('X', (1.615,0.85), layer=67, texttype=5))
sky130_fd_sc_hd__buf_4.add(gdstk.Label('VPWR', (0.235,2.72), layer=67, texttype=5))
sky130_fd_sc_hd__buf_4.add(gdstk.Label('VGND', (0.235,0), layer=67, texttype=5))
sky130_fd_sc_hd__buf_4.add(gdstk.Label('A', (0.235,1.19), layer=67, texttype=5))
sky130_fd_sc_hd__buf_4.add(gdstk.Label('VPB', (0.235,2.72), layer=64, texttype=5))
sky130_fd_sc_hd__buf_4.add(gdstk.Label('VNB', (0.235,0), layer=64, texttype=59))
sky130_fd_sc_hd__buf_4.add(gdstk.Label('buf_4', (0,0), layer=83, texttype=44))

dlib_freqdiv2 = lib.new_cell('DLib_freqDiv2')
R(dlib_freqdiv2, nwell, [(0.9,-2.7,3.25,-1.05), (13.2,-2.7,14.7,-1.35), (-3.05,-2.65,-2.2,-1.05), (13.15,-1.35,14.7,-1.3), (13.2,-1.3,14.7,-1.05), (2.6,1.5,4.7,3.15), (-2.05,1.55,0.1,3.2)])
R(dlib_freqdiv2, tap, [(-2.75,-3.9,-2.35,-3.4), (13.3,-3.6,13.8,-3.2), (13.4,-2.45,13.9,-2.05), (-2.75,-2.1,-2.35,-1.6), (-1.75,0.5,-1.35,1), (-1.75,2.15,-1.35,2.65)])
R(dlib_freqdiv2, licon, [(-2.635,-3.735,-2.465,-3.565), (13.465,-3.485,13.635,-3.315), (13.565,-2.335,13.735,-2.165), (-2.635,-1.935,-2.465,-1.765), (-1.635,0.665,-1.465,0.835), (-1.635,2.315,-1.465,2.485)])
R(dlib_freqdiv2, li1, [(-3.5,-5.4,14.5,-5), (-3.5,-5,-3.2,-2.85), (14.1,-5,14.5,-3), (0.75,-4.2,3.4,-3.7), (-2.75,-3.9,-2.35,-3.4), (13.3,-3.6,13.8,-3.2), (10.35,-3.4,10.55,-3.2), (4.8,-3.05,5,-2.85), (13.15,-3,14.5,-2.85), (0,-2.9,1.025,-2.65), (3.55,-2.9,3.75,-2.7), (12.45,-2.9,12.5,-2.85), (-3.5,-2.85,-1.85,-2.65), (12.45,-2.85,14.5,-2.65), (0.75,-2.65,1.025,-2.1), (12.45,-2.65,12.5,-2.6), (13.4,-2.45,13.9,-2.05), (10.35,-2.35,10.55,-2.15), (-2.75,-2.1,-2.35,-1.6), (0.75,-2.1,3.05,-1.85), (10.35,-1.95,10.55,-1.75), (2.8,-1.85,3.05,-0.575), (0.75,-1.45,2.4,-1), (13.05,-0.9,13.45,2.85), (2.8,-0.575,3.825,-0.325), (3.575,-0.325,3.825,0.55), (-7.95,0.5,-1.35,1), (3.4,0.55,3.95,1), (11.75,0.75,11.95,0.95), (6.2,1.05,6.4,1.25), (0.35,1.35,0.55,1.55), (2.35,1.45,4.9,1.85), (-1.75,2.15,-1.35,2.65), (12.1,2.85,13.45,3.2)])
R(dlib_freqdiv2, mcon, [(-2.635,-3.735,-2.465,-3.565), (13.465,-3.485,13.635,-3.315), (10.365,-3.385,10.535,-3.215), (4.815,-3.035,4.985,-2.865), (3.565,-2.885,3.735,-2.715), (10.365,-2.335,10.535,-2.165), (13.565,-2.335,13.735,-2.165), (-2.635,-1.935,-2.465,-1.765), (10.365,-1.935,10.535,-1.765), (2.065,-1.285,2.235,-1.115), (13.165,-0.785,13.335,-0.615), (-7.785,0.665,-7.615,0.835), (-1.635,0.665,-1.465,0.835), (3.615,0.665,3.785,0.835), (11.765,0.765,11.935,0.935), (6.215,1.065,6.385,1.235), (0.365,1.365,0.535,1.535), (-1.635,2.315,-1.465,2.485)])
R(dlib_freqdiv2, met1, [(2.4,-7.25,19.9,-6.75), (2.4,-6.75,2.9,-3.5), (19.4,-6.75,19.9,0.65), (-2.75,-4.2,-1.95,-3.9), (13.05,-4.2,16.9,-3.75), (-7.95,-3.9,-1.95,-3.75), (-7.95,-3.75,-2.35,-3.4), (16.45,-3.75,16.9,0), (13.3,-3.6,13.8,-3.2), (2.4,-3.5,5.15,-3.25), (10.25,-3.45,10.75,-2.7), (-7.95,-3.4,-7.45,1), (4.75,-3.25,5.15,-2.65), (1.15,-3,3.85,-2.7), (1.15,-2.7,1.45,-0.65), (3.45,-2.7,3.85,-2.35), (10.25,-2.7,10.7,-1.9), (13.4,-2.45,13.9,-2.05), (-5.8,-2.1,-2.35,-1.6), (10.25,-1.9,14.3,-1.65), (13.8,-1.65,14.3,-0.65), (-5.8,-1.6,-5.3,2.15), (-2.75,-1.6,-2.35,-1.45), (13.05,-1.5,13.45,-0.5), (-2.75,-1.45,-1.9,-1), (1.9,-1.45,3.45,-1), (-2.5,-0.65,1.45,-0.35), (-2.5,-0.35,-2.2,1.35), (2.45,0,4.8,0.35), (12.15,0,16.9,0.4), (-1.75,0.5,-1.35,1), (3.4,0.55,3.95,0.75), (11.7,0.65,19.9,1.15), (3.4,0.75,6.55,1.1), (6.05,1.1,6.55,1.45), (0.3,1.25,0.7,1.35), (-2.5,1.35,0.7,1.65), (-5.8,2.15,-1.35,2.65), (2.45,2.7,4.9,3.2)])
R(dlib_freqdiv2, nsdm, [(13.04,-2.955,13.655,-2.95), (12.66,-2.95,13.655,-2.6), (13.04,-2.6,13.655,-2.575), (13.04,-2.575,14.025,-2.57), (13.275,-2.57,14.025,-1.925), (-2.875,-2.225,-2.225,-1.475), (-1.875,2.025,-1.225,2.775)])
R(dlib_freqdiv2, psdm, [(-2.875,-4.025,-2.225,-3.275), (13.175,-3.725,13.925,-3.075), (-1.875,0.375,-1.225,1.125)])
dlib_freqdiv2.add(gdstk.Reference(sky130_fd_sc_hd__inv_4, (0.19,0.24)))
dlib_freqdiv2.add(gdstk.Reference(sky130_fd_sc_hd__dfxtp_1, (4.79,0.24)))
dlib_freqdiv2.add(gdstk.Reference(sky130_fd_sc_hd__dfxbp_2, (3.39,-3.96)))
dlib_freqdiv2.add(gdstk.Reference(sky130_fd_sc_hd__buf_4, (-2.01,-3.96)))
dlib_freqdiv2.add(gdstk.Label('Q_N_buf', (0.9,-2.9), layer=67, texttype=5))
dlib_freqdiv2.add(gdstk.Label('Q_N', (-3.3,-2.65), layer=67, texttype=5))
dlib_freqdiv2.add(gdstk.Label('D', (12.9,1.15), layer=68, texttype=5))
dlib_freqdiv2.add(gdstk.Label('clkinv', (3.4,1.45), layer=67, texttype=5))
dlib_freqdiv2.add(gdstk.Label('clk', (1.15,-0.35), layer=68, texttype=5))
dlib_freqdiv2.add(gdstk.Label('clkDiv2', (14.05,-0.65), layer=68, texttype=5))
dlib_freqdiv2.add(gdstk.Label('VDDA', (-5.5,2.65), layer=68, texttype=5))
dlib_freqdiv2.add(gdstk.Label('GND', (-7.7,1), layer=68, texttype=5))

lib.write_gds('DLib_freqDiv2.gds')
